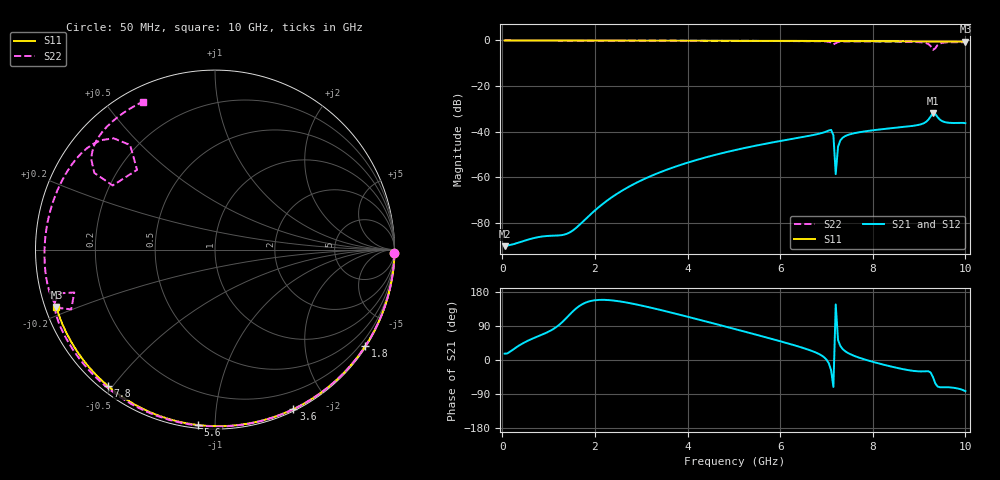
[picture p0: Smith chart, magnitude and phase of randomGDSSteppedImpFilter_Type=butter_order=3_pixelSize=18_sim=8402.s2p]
! freq	dB(S11)	phase(S11)	dB(S12)	phase(S12)
!  dB(S21)	phase(S21)	dB(S22)	phase(S22)
!S-par simulation data
#  GHz  S  DB  R 50
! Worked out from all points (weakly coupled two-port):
!   200 points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, 50 MHz to 10 GHz, reference 50 ohm
!   highest |S21| = -31.88 dB at 9.3 GHz (marker M1); lowest = -90.2 dB at 50 MHz (marker M2)
!   lowest |S11| = -0.5 dB at 10 GHz (marker M3), VSWR 32.03, Z = 1.61 - j8.77 ohm
!   |S11| at or under -10 dB: nowhere
!   |S22| runs from -4.1 to 0.0 dB; largest |S21 - S12| = 0
!   S11 on the Smith chart (normalised r, x): 50 MHz: open; 1.8 GHz: 0.03, -3.40; 3.6 GHz: 0.02, -1.61; 5.6 GHz: 0.02, -0.91; 7.8 GHz: 0.02, -0.49; 10 GHz: 0.03, -0.18
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0.05  -0.00 -0.9  -90.17 16.9  -90.17 16.9  -0.00 -1.2
1.75  -0.04 -31.9  -79.25 148.7  -79.25 148.7  -0.05 -40.9
1.8  -0.04 -32.8  -78.27 151.5  -78.27 151.5  -0.05 -42.1
2.5  -0.06 -45.1  -66.91 155.3  -66.91 155.3  -0.07 -57.9
3.4  -0.08 -60.5  -57.83 132.5  -57.83 132.5  -0.10 -77.9
3.6  -0.09 -63.8  -56.30 126.5  -56.30 126.5  -0.11 -82.3
5.05  -0.13 -87.2  -47.95 80.8  -47.95 80.8  -0.18 -113.6
5.6  -0.16 -95.6  -45.61 62.9  -45.61 62.9  -0.21 -125.6
6.7  -0.22 -112.1  -41.50 23.2  -41.50 23.2  -0.31 -151.1
7.1  -0.25 -117.9  -39.20 -27.0  -39.20 -27.0  -0.89 -164.3
7.15  -0.26 -118.7  -41.58 -71.1  -41.58 -71.1  -1.73 -163.1
7.2  -0.26 -119.3  -58.59 146.7  -58.59 146.7  -1.23 -157.4
7.25  -0.26 -120.1  -46.56 52.7  -46.56 52.7  -0.69 -159.3
7.3  -0.26 -120.8  -43.80 37.1  -43.80 37.1  -0.52 -161.6
7.8  -0.30 -128.0  -39.94 2.4  -39.94 2.4  -0.43 -176.7
8.35  -0.35 -135.9  -38.57 -15.9  -38.57 -15.9  -0.51 167.3
9.15  -0.43 -147.5  -35.70 -29.5  -35.70 -29.5  -1.12 136.0
9.25  -0.44 -148.9  -33.29 -33.1  -33.29 -33.1  -2.49 129.1
9.3  -0.45 -149.6  -31.88 -45.1  -31.88 -45.1  -4.13 134.3
9.35  -0.45 -150.3  -32.20 -61.7  -32.20 -61.7  -3.44 147.9
9.45  -0.46 -151.8  -34.73 -71.9  -34.73 -71.9  -1.33 143.6
10  -0.54 -160.1  -36.27 -82.3  -36.27 -82.3  -0.76 116.0
